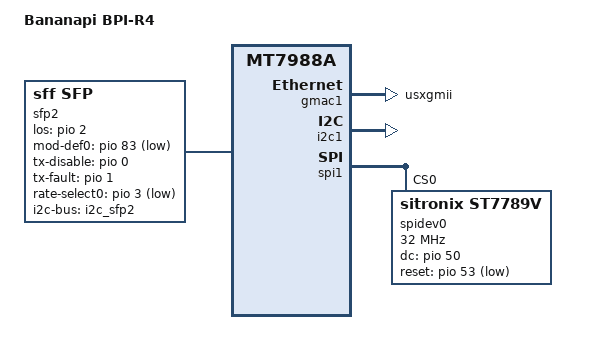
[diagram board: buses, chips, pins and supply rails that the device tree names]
// SPDX-License-Identifier: (GPL-2.0 OR MIT)
/*
 * Copyright (C) 2022 MediaTek Inc.
 * Author: Sam.Shih <sam.shih@mediatek.com>
 */

#include "mt7988a-bananapi-bpi-r4.dtsi"

/ {
	model = "Bananapi BPI-R4";
	compatible = "bananapi,bpi-r4",
		     "mediatek,mt7988a";

	/* SFP2 cage (LAN) */
	sfp2: sfp2 {
		compatible = "sff,sfp";
		i2c-bus = <&i2c_sfp2>;
		los-gpios = <&pio 2 GPIO_ACTIVE_HIGH>;
		mod-def0-gpios = <&pio 83 GPIO_ACTIVE_LOW>;
		tx-disable-gpios = <&pio 0 GPIO_ACTIVE_HIGH>;
		tx-fault-gpios = <&pio 1 GPIO_ACTIVE_HIGH>;
		rate-select0-gpios = <&pio 3 GPIO_ACTIVE_LOW>;
		maximum-power-milliwatt = <3000>;
	};
};

&gmac1 {
	sfp = <&sfp2>;
	managed = "in-band-status";
	phy-mode = "usxgmii";
	status = "okay";
};

&pca9545 {
	i2c_sfp2: i2c@2 {
		#address-cells = <1>;
		#size-cells = <0>;
		reg = <2>;
	};
};

&i2c1 {
        status = "okay";
};

&spi1 {
        #address-cells = <1>;
        #size-cells = <0>;
        pinctrl-names = "default";
        pinctrl-0 = <&spi1_pins>;
        status = "okay";

        spidev0: spidev@0 {
                compatible = "sitronix,st7789v";
                spi-max-frequency = <32000000>;
                #address-cells = <1>;
                #size-cells = <0>;
                reg = <0>;
                dc-gpios = <&pio 50 GPIO_ACTIVE_HIGH>;    //pin 15 / GPIO50
                reset-gpios = <&pio 53 GPIO_ACTIVE_LOW>;  //pin 22 / GPIO53
                spi-cpol;
                spi-cpha;
                status = "okay";
        };
};
